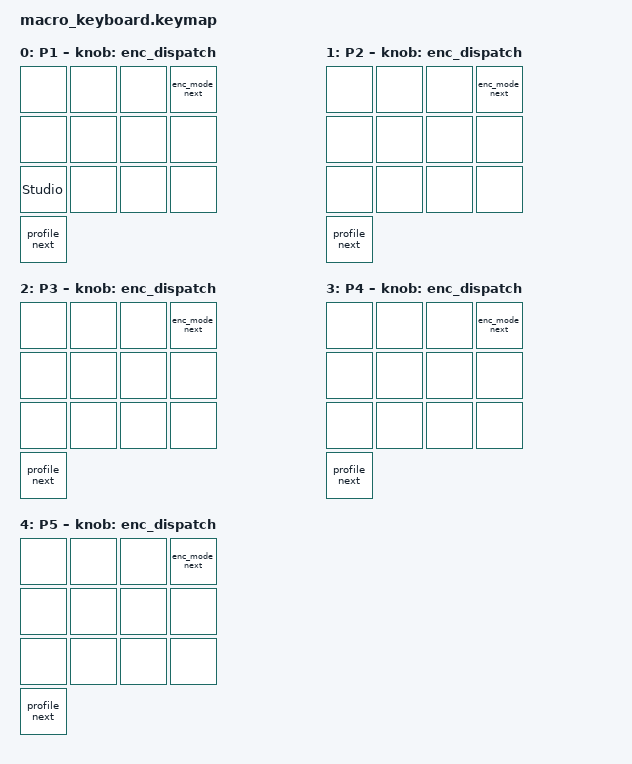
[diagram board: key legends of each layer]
/*
 * Copyright (c) 2026 The ZMK Contributors
 * SPDX-License-Identifier: MIT
 *
 * macro_keyboard keymap
 *
 *   Physical layout: 3 rows x 4 cols + 1 profile button (13 keys total).
 *   Each layer represents one profile. There are 5 profiles by default,
 *   all blank: the only pre-bound keys are the profile button (pos 12,
 *   `&profile_next`) and the encoder-mode key (pos 3, `&enc_mode_next`,
 *   physically directly under the profile button). Everything else is
 *   `&none` — assign macros in ZMK Studio. `&profile_next` advances to the
 *   next profile based on the current highest-active layer and now wraps on
 *   the live layer count (so it tracks however many profiles exist).
 *
 *   Profiles 6 and 7 are `status = "reserved"` — spare slots so ZMK Studio's
 *   "add layer" can grow the profile count past the default 5 (up to 7, the
 *   most the status screen can show). They count toward ZMK_KEYMAP_LAYERS_LEN
 *   only in the Studio build (reordering on) and start inactive; the dev build
 *   (no reordering) ignores them entirely, so it stays at 5. They carry the
 *   same pre-bound keys + sensor binding as the others, so an added profile is
 *   functional immediately and can be renamed/edited in Studio.
 *
 *   `&profile_next` is implemented in zmk-config/module/src/behavior_profile_next.c
 *   and declared as a DT node below.
 *
 *   `&studio_unlock` is kept on profile 1 (pos 8) so ZMK Studio can be
 *   unlocked to edit — without it bound to a key Studio cannot be unlocked.
 */

#include <behaviors.dtsi>
#include <dt-bindings/zmk/keys.h>
#include <dt-bindings/zmk/bt.h>

/ {
    behaviors {
        profile_next: profile_next {
            compatible = "zmk,behavior-profile-next";
            #binding-cells = <0>;
        };

        /*
         * Encoder (AS5600) mode switching — see module/src/encoder_mode.c.
         * &enc_dispatch is each layer's sensor-binding; it acts on the active
         * profile's current mode. &enc_mode_next is a key that cycles that
         * profile's mode (volume -> vertical scroll -> horizontal scroll).
         */
        enc_mode_next: enc_mode_next {
            compatible = "zmk,behavior-encoder-mode-next";
            #binding-cells = <0>;
        };

        enc_dispatch: enc_dispatch {
            compatible = "zmk,behavior-encoder-dispatch";
            #sensor-binding-cells = <0>;

            /* No firmware scroll acceleration — the host smooth-scroll app
             * (Mac Mouse Fix) owns smoothing + acceleration. The firmware emits
             * a clean linear stream; the app shapes the feel.
             *   scroll-triggers-per-rotation = SCROLL SPEED knob (lines/rev).
             *                                  Lower = slower. The app smooths
             *                                  between ticks so it stays smooth.
             *   scroll-units                 = lines per tick (keep 1)
             *   scroll-max-value             = safety clamp
             *   volume-/tab-triggers-per-rotation = coarse step size for the
             *                                  discrete modes (one notch per
             *                                  volume step / browser tab). */
            volume-triggers-per-rotation = <14>;
            tab-triggers-per-rotation = <12>;
            scroll-triggers-per-rotation = <120>;
            scroll-units = <1>;
            scroll-max-value = <1000>;
            /* Coalesce scroll reports to <=~83/s. Sustained ~200/s per-tick
             * reports over USB wedge the HID TX path and hang the board; this
             * caps the rate without losing rotation (remainder carried). */
            scroll-min-interval-ms = <12>;
        };
    };

    keymap {
        compatible = "zmk,keymap";

        /*
         * 5 blank profiles. Only the encoder-mode key (pos 3, directly under
         * the profile button) and the profile button (pos 12) are pre-bound;
         * everything else is &none, to be assigned in ZMK Studio. Profile 1
         * additionally keeps &studio_unlock (pos 8) so Studio can be unlocked.
         */
        profile_1 {
            display-name = "P1";
            bindings = <
                &none            &none             &none            &enc_mode_next
                &none            &none             &none            &none
                &studio_unlock   &none             &none            &none
                &profile_next
            >;
            sensor-bindings = <&enc_dispatch>;
        };

        profile_2 {
            display-name = "P2";
            bindings = <
                &none            &none             &none            &enc_mode_next
                &none            &none             &none            &none
                &none            &none             &none            &none
                &profile_next
            >;
            sensor-bindings = <&enc_dispatch>;
        };

        profile_3 {
            display-name = "P3";
            bindings = <
                &none            &none             &none            &enc_mode_next
                &none            &none             &none            &none
                &none            &none             &none            &none
                &profile_next
            >;
            sensor-bindings = <&enc_dispatch>;
        };

        profile_4 {
            display-name = "P4";
            bindings = <
                &none            &none             &none            &enc_mode_next
                &none            &none             &none            &none
                &none            &none             &none            &none
                &profile_next
            >;
            sensor-bindings = <&enc_dispatch>;
        };

        profile_5 {
            display-name = "P5";
            bindings = <
                &none            &none             &none            &enc_mode_next
                &none            &none             &none            &none
                &none            &none             &none            &none
                &profile_next
            >;
            sensor-bindings = <&enc_dispatch>;
        };

        /* Reserved spare slots for Studio "add layer" (max 7 profiles). */
        profile_6 {
            status = "reserved";
            display-name = "P6";
            bindings = <
                &none            &none             &none            &enc_mode_next
                &none            &none             &none            &none
                &none            &none             &none            &none
                &profile_next
            >;
            sensor-bindings = <&enc_dispatch>;
        };

        profile_7 {
            status = "reserved";
            display-name = "P7";
            bindings = <
                &none            &none             &none            &enc_mode_next
                &none            &none             &none            &none
                &none            &none             &none            &none
                &profile_next
            >;
            sensor-bindings = <&enc_dispatch>;
        };
    };
};
